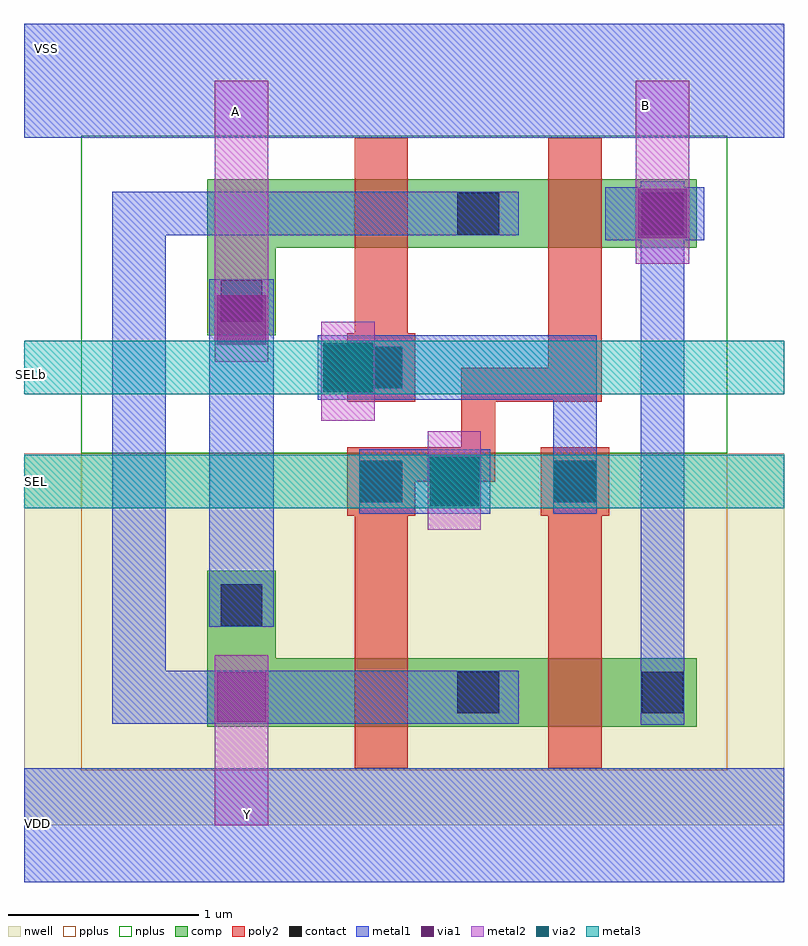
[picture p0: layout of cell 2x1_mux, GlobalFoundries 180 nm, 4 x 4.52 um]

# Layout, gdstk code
import gdstk
lib = gdstk.Library(unit=1e-6, precision=5e-09)
def R(c, l, rs):  # rectangles x0, y0, x1, y1
    for r in rs: c.add(gdstk.rectangle(r[:2], r[2:], *l))
nwell = (21, 0)
comp = (22, 0)
poly2 = (30, 0)
pplus = (31, 0)
nplus = (32, 0)
contact = (33, 0)
metal1 = (34, 0)
via1 = (35, 0)
metal2 = (36, 0)
via2 = (38, 0)
metal3 = (42, 0)

c_2x1_mux = lib.new_cell('2x1_mux')
R(c_2x1_mux, nwell, [(0,0.3,4,2.26)])
R(c_2x1_mux, comp, [(0.965,0.82,3.54,1.18), (0.965,1.18,1.325,1.64), (0.965,2.88,1.325,3.34), (0.965,3.34,3.54,3.7)])
R(c_2x1_mux, poly2, [(1.74,0.6,2.02,1.93), (2.76,0.6,3.04,1.93), (1.7,1.93,2.06,2.29), (2.72,1.93,3.08,2.29), (2.06,2.11,2.3,2.29), (2.3,2.11,2.48,2.71), (1.7,2.53,2.06,2.89), (2.48,2.53,2.76,2.71), (2.76,2.53,3.04,3.92), (1.74,2.89,2.02,3.92)])
R(c_2x1_mux, pplus, [(0.3,0.59,3.7,2.26)])
R(c_2x1_mux, nplus, [(0.3,2.26,3.7,3.93)])
R(c_2x1_mux, contact, [(2.28,0.89,2.5,1.11), (3.25,0.89,3.47,1.11), (1.035,1.35,1.255,1.57), (1.77,2,1.99,2.22), (2.79,2,3.01,2.22), (1.77,2.6,1.99,2.82), (1.035,2.95,1.255,3.17), (2.28,3.41,2.5,3.63), (3.25,3.41,3.47,3.63)])
R(c_2x1_mux, metal1, [(0,0,4,0.6), (3.245,0.83,3.475,3.69), (0.465,0.835,2.605,1.115), (0.465,1.115,0.745,3.405), (0.975,1.345,1.315,3.175), (1.765,1.94,2.455,2.28), (2.785,1.94,3.015,2.88), (1.545,2.54,2.785,2.88), (3.06,3.38,3.58,3.66), (0.465,3.405,2.605,3.635), (0,3.92,4,4.52)])
R(c_2x1_mux, via1, [(1.015,0.845,1.275,1.105), (2.135,1.98,2.395,2.24), (1.575,2.58,1.835,2.84), (1.015,2.83,1.275,3.09), (3.23,3.39,3.49,3.65)])
R(c_2x1_mux, metal2, [(1.005,0.3,1.285,1.195), (2.125,1.855,2.405,2.375), (1.565,2.43,1.845,2.95), (1.005,2.74,1.285,4.22), (3.22,3.255,3.5,4.22)])
R(c_2x1_mux, via2, [(2.135,1.98,2.395,2.24), (1.575,2.58,1.835,2.84)])
R(c_2x1_mux, metal3, [(0,1.97,4,2.25), (0,2.57,4,2.85)])
c_2x1_mux.add(gdstk.Label('VSS', (0.12,4.39), layer=34, texttype=10))
c_2x1_mux.add(gdstk.Label('VDD', (0.07,0.31), layer=34, texttype=10))
c_2x1_mux.add(gdstk.Label('Y', (1.175,0.355), layer=36, texttype=10))
c_2x1_mux.add(gdstk.Label('B', (3.27,4.09), layer=36, texttype=10))
c_2x1_mux.add(gdstk.Label('A', (1.115,4.06), layer=36, texttype=10))
c_2x1_mux.add(gdstk.Label('SELb', (0.04,2.675), layer=42, texttype=10))
c_2x1_mux.add(gdstk.Label('SEL', (0.065,2.11), layer=42, texttype=10))

lib.write_gds('2x1_mux.gds')
